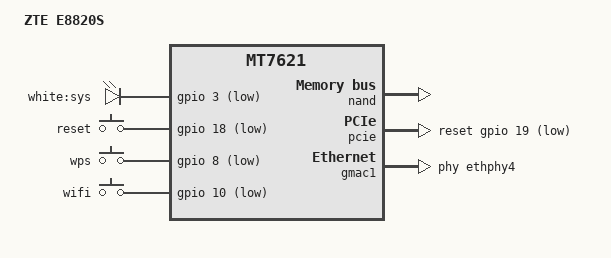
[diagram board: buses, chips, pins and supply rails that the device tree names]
#include "mt7621.dtsi"

#include <dt-bindings/gpio/gpio.h>
#include <dt-bindings/input/input.h>
#include <dt-bindings/leds/common.h>

/ {
	compatible = "zte,e8820s", "mediatek,mt7621-soc";
	model = "ZTE E8820S";

	aliases {
		led-boot = &led_sys;
		led-failsafe = &led_sys;
		led-running = &led_sys;
		led-upgrade = &led_sys;
		label-mac-device = &gmac0;
	};

	leds {
		compatible = "gpio-leds";

		led_sys: sys {
			label = "white:sys";
			gpios = <&gpio 3 GPIO_ACTIVE_LOW>;
		};

	};

	keys {
		compatible = "gpio-keys";

		reset {
			label = "reset";
			gpios = <&gpio 18 GPIO_ACTIVE_LOW>;
			linux,code = <KEY_RESTART>;
		};

		wps {
			label = "wps";
			gpios = <&gpio 8 GPIO_ACTIVE_LOW>;
			linux,code = <KEY_WPS_BUTTON>;
		};

		wifi {
			label = "wifi";
			gpios = <&gpio 10 GPIO_ACTIVE_LOW>;
			linux,code = <KEY_RFKILL>;
		};
	};
};

&nand {
	status = "okay";

	partitions {
		compatible = "fixed-partitions";
		#address-cells = <1>;
		#size-cells = <1>;

		partition@0 {
			label = "u-boot";
			reg = <0x0 0x80000>;
			read-only;
		};

		partition@80000 {
			label = "u-boot-env";
			reg = <0x80000 0x80000>;
			read-only;
		};

		partition@100000 {
			label = "Factory";
			reg = <0x100000 0x40000>;
			read-only;

			nvmem-layout {
				compatible = "fixed-layout";
				#address-cells = <1>;
				#size-cells = <1>;
				
				eeprom_factory_0: eeprom@0 {
					reg = <0x0 0x400>;
				};

				eeprom_factory_8000: eeprom@8000 {
					reg = <0x8000 0x200>;
				};

				macaddr_factory_4: macaddr@4 {
					reg = <0x4 0x6>;
				};

				macaddr_factory_e000: macaddr@e000 {
					reg = <0xe000 0x6>;
				};

				macaddr_factory_e006: macaddr@e006 {
					reg = <0xe006 0x6>;
				};
			};
		};

		partition@140000 {
			label = "kernel";
			reg = <0x140000 0x400000>;
		};

		partition@540000 {
			label = "ubi";
			reg = <0x540000 0x7A00000>;
		};
	};
};

&pcie {
	status = "okay";
	reset-gpios = <&gpio 19 GPIO_ACTIVE_LOW>,
				  <&gpio 4 GPIO_ACTIVE_LOW>;
};

&pcie0 {
	wifi@0,0 {
		reg = <0x0000 0 0 0 0>;
		nvmem-cells = <&eeprom_factory_0>, <&macaddr_factory_e000>;
		nvmem-cell-names = "eeprom", "mac-address";

		led {
			led-active-low;
		};
	};
};

&pcie1 {
	wifi@0,0 {
		reg = <0x0000 0 0 0 0>;
		nvmem-cells = <&eeprom_factory_8000>, <&macaddr_factory_e006>;
		nvmem-cell-names = "eeprom", "mac-address";
		ieee80211-freq-limit = <5000000 6000000>;

		led {
			led-sources = <2>;
			led-active-low;
		};
	};
};

&gmac0 {
	nvmem-cells = <&macaddr_factory_e000>;
	nvmem-cell-names = "mac-address";
};

&gmac1 {
	status = "okay";
	label = "wan";
	phy-handle = <&ethphy4>;

	nvmem-cells = <&macaddr_factory_e000>;
	nvmem-cell-names = "mac-address";
	mac-address-increment = <1>;
};

&ethphy4 {
	/delete-property/ interrupts;
};

&switch0 {
	ports {
		port@0 {
			status = "okay";
			label = "lan1";
		};

		port@1 {
			status = "okay";
			label = "lan2";
		};

		port@2 {
			status = "okay";
			label = "lan3";
		};

		port@3 {
			status = "okay";
			label = "lan4";
		};
	};
};

&state_default {
	gpio {
		groups = "i2c", "jtag", "uart2", "uart3", "wdt";
		function = "gpio";
	};
};
